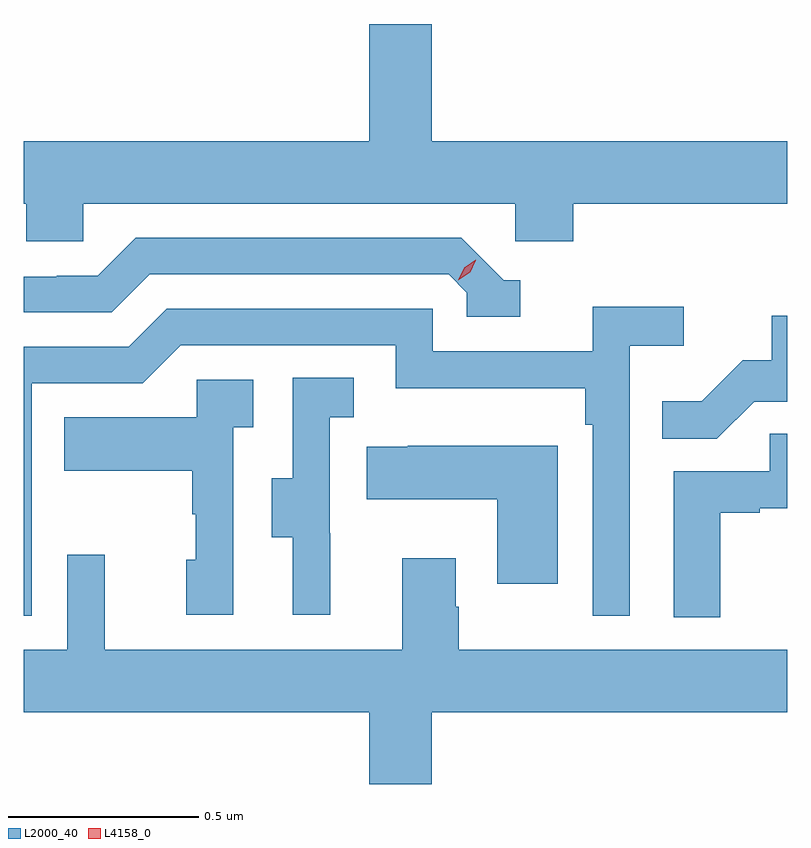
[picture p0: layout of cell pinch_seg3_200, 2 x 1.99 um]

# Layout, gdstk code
import gdstk
lib = gdstk.Library(unit=1e-6, precision=1e-09)
def P(c, l, *ps):  # polygons
    for p in ps: c.add(gdstk.Polygon(p, *l))
L2000_40 = (2000, 40)
L4158_0 = (4158, 0)

pinch_seg3_200 = lib.new_cell('pinch_seg3_200')
P(pinch_seg3_200, L2000_40, [(955.467,743.54),(956.598,743.54),(956.598,743.442),(956.75,743.442),(956.75,743.54),(957.311,743.54),(957.311,743.704),(956.38,743.704),(956.38,744.011),(956.216,744.011),(956.216,743.704),(955.311,743.704),(955.311,743.54),(955.317,743.54),(955.317,743.442),(955.467,743.442)],
  [(956.611,743.34),(956.568,743.34),(956.457,743.451),(955.604,743.451),(955.505,743.352),(955.398,743.352),(955.398,743.349),(955.311,743.349),(955.311,743.256),(955.542,743.256),(955.641,743.355),(956.424,743.355),(956.472,743.307),(956.472,743.244),(956.611,743.244)],
  [(955.332,743.07),(955.623,743.07),(955.722,743.169),(956.286,743.169),(956.286,743.057),(956.782,743.057),(956.782,742.961),(956.802,742.961),(956.802,742.461),(956.898,742.461),(956.898,743.168),(957.04,743.168),(957.04,743.27),(956.801,743.27),(956.801,743.154),(956.382,743.154),(956.382,743.265),(955.685,743.265),(955.586,743.166),(955.311,743.166),(955.311,742.461),(955.332,742.461)],
  [(957.224,743.022),(957.311,743.022),(957.311,743.247),(957.271,743.247),(957.271,743.13),(957.194,743.13),(957.087,743.023),(956.983,743.023),(956.983,742.924),(957.126,742.924)],
  [(956.114,742.677),(956.112,742.677),(956.112,742.981),(956.176,742.981),(956.176,743.084),(956.016,743.084),(956.016,742.821),(955.961,742.821),(955.961,742.666),(956.015,742.666),(956.015,742.464),(956.114,742.464)],
  [(955.86,742.955),(955.912,742.955),(955.912,743.079),(955.764,743.079),(955.764,742.981),(955.417,742.981),(955.417,742.841),(955.752,742.841),(955.752,742.727),(955.762,742.727),(955.762,742.608),(955.736,742.608),(955.736,742.464),(955.86,742.464)],
  [(957.136,742.731),(957.239,742.731),(957.239,742.743),(957.311,742.743),(957.311,742.937),(957.265,742.937),(957.265,742.839),(957.014,742.839),(957.014,742.457),(957.136,742.457)],
  [(956.71,742.906),(956.317,742.906),(956.317,742.903),(956.209,742.903),(956.209,742.766),(956.552,742.766),(956.552,742.545),(956.71,742.545)],
  [(956.38,742.208),(957.311,742.208),(957.311,742.372),(956.451,742.372),(956.451,742.484),(956.443,742.484),(956.443,742.612),(956.303,742.612),(956.303,742.372),(955.523,742.372),(955.523,742.621),(955.425,742.621),(955.425,742.372),(955.311,742.372),(955.311,742.208),(956.216,742.208),(956.216,742.02),(956.38,742.02)])
P(pinch_seg3_200, L4158_0, [(956.449,743.34),(956.449,743.34),(956.465,743.373),(956.495,743.393),(956.495,743.393),(956.495,743.392),(956.48,743.36),(956.449,743.34)])

lib.write_gds('pinch_seg3_200.gds')
